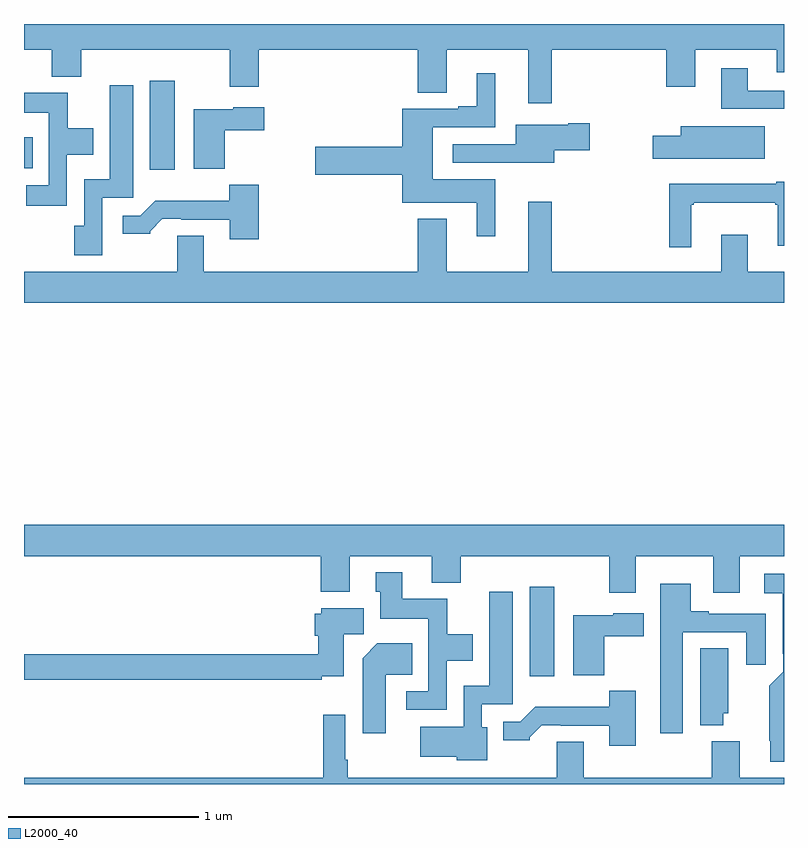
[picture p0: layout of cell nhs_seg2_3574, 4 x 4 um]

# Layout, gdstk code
import gdstk
lib = gdstk.Library(unit=1e-6, precision=1e-09)
def R(c, l, rs):  # rectangles x0, y0, x1, y1
    for r in rs: c.add(gdstk.rectangle(r[:2], r[2:], *l))
def P(c, l, *ps):  # polygons
    for p in ps: c.add(gdstk.Polygon(p, *l))
L2000_40 = (2000, 40)

nhs_seg2_3574 = lib.new_cell('nhs_seg2_3574')
R(nhs_seg2_3574, L2000_40, [(301.661,616.368,301.792,616.837), (299.663,619.032,299.794,619.501), (299,619.04,299.045,619.204)])
P(nhs_seg2_3574, L2000_40, [(301.777,619.664),(302.381,619.664),(302.381,619.47),(302.533,619.47),(302.533,619.664),(302.963,619.664),(302.963,619.547),(303,619.547),(303,619.8),(299,619.8),(299,619.664),(299.147,619.664),(299.147,619.523),(299.3,619.523),(299.3,619.664),(300.083,619.664),(300.083,619.47),(300.236,619.47),(300.236,619.664),(301.073,619.664),(301.073,619.438),(301.225,619.438),(301.225,619.664),(301.655,619.664),(301.655,619.383),(301.777,619.383)],
  [(303,619.449),(302.809,619.449),(302.809,619.567),(302.669,619.567),(302.669,619.353),(303,619.353)],
  [(301.48,618.982),(301.15,618.982),(301.15,619.257),(301.48,619.257),(301.48,619.54),(301.382,619.54),(301.382,619.366),(301.286,619.366),(301.286,619.353),(300.992,619.353),(300.992,619.154),(300.534,619.154),(300.534,619.007),(300.992,619.007),(300.992,618.86),(301.382,618.86),(301.382,618.684),(301.48,618.684)],
  [(299.412,618.885),(299.575,618.885),(299.575,619.477),(299.45,619.477),(299.45,618.982),(299.316,618.982),(299.316,618.738),(299.264,618.738),(299.264,618.582),(299.412,618.582)],
  [(299.226,619.112),(299.365,619.112),(299.365,619.252),(299.229,619.252),(299.229,619.438),(299,619.438),(299,619.334),(299.13,619.334),(299.13,618.951),(299.013,618.951),(299.013,618.843),(299.226,618.843)],
  [(300.056,619.241),(300.265,619.241),(300.265,619.363),(300.102,619.363),(300.102,619.351),(299.894,619.351),(299.894,619.037),(300.056,619.037)],
  [(301.792,619.136),(301.978,619.136),(301.978,619.278),(301.865,619.278),(301.865,619.27),(301.589,619.27),(301.589,619.167),(301.257,619.167),(301.257,619.071),(301.576,619.071),(301.576,619.07),(301.792,619.07)],
  [(302.899,619.261),(302.456,619.261),(302.456,619.213),(302.31,619.213),(302.31,619.091),(302.899,619.091)],
  [(302.512,618.849),(302.524,618.849),(302.524,618.86),(302.955,618.86),(302.955,618.849),(302.966,618.849),(302.966,618.632),(303,618.632),(303,618.97),(302.96,618.97),(302.96,618.958),(302.395,618.958),(302.395,618.624),(302.512,618.624)],
  [(300.236,618.955),(300.081,618.955),(300.081,618.871),(299.692,618.871),(299.613,618.792),(299.52,618.792),(299.52,618.695),(299.664,618.695),(299.664,618.71),(299.728,618.774),(299.827,618.774),(299.827,618.771),(300.083,618.771),(300.083,618.666),(300.236,618.666)],
  [(303,618.496),(302.809,618.496),(302.809,618.691),(302.669,618.691),(302.669,618.496),(301.777,618.496),(301.777,618.865),(301.655,618.865),(301.655,618.496),(301.225,618.496),(301.225,618.775),(301.073,618.775),(301.073,618.496),(299.947,618.496),(299.947,618.686),(299.807,618.686),(299.807,618.496),(299,618.496),(299,618.332),(303,618.332)],
  [(302.221,617),(302.627,617),(302.627,616.806),(302.767,616.806),(302.767,617),(303,617),(303,617.164),(299,617.164),(299,617),(300.563,617),(300.563,616.811),(300.715,616.811),(300.715,617),(301.145,617),(301.145,616.859),(301.298,616.859),(301.298,617),(302.081,617),(302.081,616.806),(302.221,616.806)],
  [(301.224,616.448),(301.363,616.448),(301.363,616.588),(301.227,616.588),(301.227,616.774),(300.991,616.774),(300.991,616.915),(300.851,616.915),(300.851,616.812),(300.875,616.812),(300.875,616.67),(301.128,616.67),(301.128,616.287),(301.011,616.287),(301.011,616.191),(301.224,616.191)],
  [(303,616.906),(302.895,616.906),(302.895,616.805),(302.993,616.805),(302.993,616.486),(302.997,616.486),(302.997,616.392),(302.923,616.318),(302.923,616.027),(302.927,616.027),(302.927,615.917),(303,615.917)],
  [(302.467,616.599),(302.801,616.599),(302.801,616.428),(302.905,616.428),(302.905,616.695),(302.605,616.695),(302.605,616.708),(302.509,616.708),(302.509,616.855),(302.348,616.855),(302.348,616.068),(302.467,616.068)],
  [(301.438,616.098),(301.41,616.098),(301.41,616.221),(301.573,616.221),(301.573,616.813),(301.448,616.813),(301.448,616.318),(301.314,616.318),(301.314,616.102),(301.086,616.102),(301.086,615.944),(301.278,615.944),(301.278,615.926),(301.438,615.926)],
  [(300.566,616.367),(300.682,616.367),(300.682,616.588),(300.787,616.588),(300.787,616.726),(300.564,616.726),(300.564,616.695),(300.53,616.695),(300.53,616.581),(300.548,616.581),(300.548,616.484),(299,616.484),(299,616.348),(300.566,616.348)],
  [(302.054,616.577),(302.263,616.577),(302.263,616.699),(302.1,616.699),(302.1,616.687),(301.892,616.687),(301.892,616.373),(302.054,616.373)],
  [(300.904,616.376),(301.043,616.376),(301.043,616.54),(300.86,616.54),(300.782,616.462),(300.782,616.068),(300.904,616.068)],
  [(302.68,616.173),(302.707,616.173),(302.707,616.514),(302.558,616.514),(302.558,616.109),(302.68,616.109)],
  [(302.221,616.291),(302.079,616.291),(302.079,616.207),(301.69,616.207),(301.611,616.128),(301.523,616.128),(301.523,616.031),(301.662,616.031),(301.662,616.046),(301.726,616.11),(301.825,616.11),(301.825,616.107),(302.081,616.107),(302.081,616.002),(302.221,616.002)],
  [(300.69,615.928),(300.69,616.165),(300.574,616.165),(300.574,615.832),(299,615.832),(299,615.8),(303,615.8),(303,615.832),(302.767,615.832),(302.767,616.024),(302.62,616.024),(302.62,615.832),(301.945,615.832),(301.945,616.022),(301.805,616.022),(301.805,615.832),(300.703,615.832),(300.703,615.928)])

lib.write_gds('nhs_seg2_3574.gds')
